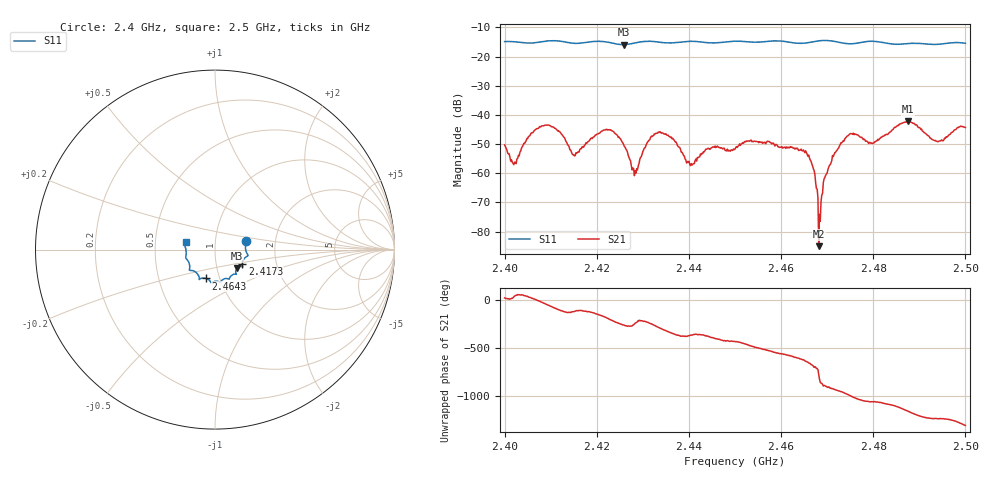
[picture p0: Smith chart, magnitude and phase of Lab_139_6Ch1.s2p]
# Hz S RI R 50
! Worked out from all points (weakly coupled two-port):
!   601 points, 2.4 GHz to 2.5 GHz, reference 50 ohm
!   highest |S21| = -42.24 dB at 2.4875 GHz (marker M1); lowest = -85.0 dB at 2.4682 GHz (marker M2)
!   lowest |S11| = -15.9 dB at 2.4258 GHz (marker M3), VSWR 1.38, Z = 62.3 - j13.3 ohm
!   |S11| at or under -10 dB: start of sweep to end of sweep
!   S12 and S22 are empty: the file has one direction only
!   S11 on the Smith chart (normalised r, x): 2.4 GHz: 1.41, +0.14; 2.4173 GHz: 1.34, -0.23; 2.4643 GHz: 0.86, -0.28; 2.5 GHz: 0.72, +0.06
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2.4e9  0.1732 0.0496  0.0029 0.000979  0 0  0 0
2.402167e9  0.1746 0.0404  0.00123 0.000942  0 0  0 0
2.405333e9  0.1698 0.00908  0.00393 0.00184  0 0  0 0
2.409167e9  0.1824 -0.0289  0.0041 -0.00524  0 0  0 0
2.414833e9  0.1598 -0.0544  -0.00118 -0.0017  0 0  0 0
2.416667e9  0.1527 -0.075  -0.00106 -0.00241  0 0  0 0
2.417333e9  0.1521 -0.0823  -0.00151 -0.00263  0 0  0 0
2.4225e9  0.1485 -0.0933  -0.00533 0.0016  0 0  0 0
2.425833e9  0.1217 -0.1037  -0.000342 0.00309  0 0  0 0
2.428333e9  0.1156 -0.1267  -0.000442 0.00101  0 0  0 0
2.433333e9  0.1126 -0.1366  0.00151 0.00483  0 0  0 0
2.440667e9  0.0789 -0.1643  0.00136 -0.000211  0 0  0 0
2.45e9  0.0295 -0.1808  0.000579 -0.00252  0 0  0 0
2.464333e9  -0.0502 -0.1605  -0.000444 0.00255  0 0  0 0
2.466667e9  -0.0763 -0.1599  0.0011 0.000944  0 0  0 0
2.468167e9  -0.0854 -0.1648  2.99e-05 -4.78e-05  0 0  0 0
2.470667e9  -0.087 -0.1646  -0.00128 0.000573  0 0  0 0
2.474333e9  -0.1003 -0.1322  -0.000196 0.00433  0 0  0 0
2.483333e9  -0.1409 -0.0897  0.00477 -0.00103  0 0  0 0
2.4875e9  -0.1581 -0.0533  0.000997 -0.00766  0 0  0 0
2.493833e9  -0.1616 -0.00325  -0.00334 -0.00112  0 0  0 0
2.5e9  -0.1633 0.0419  -0.0037 0.00481  0 0  0 0
